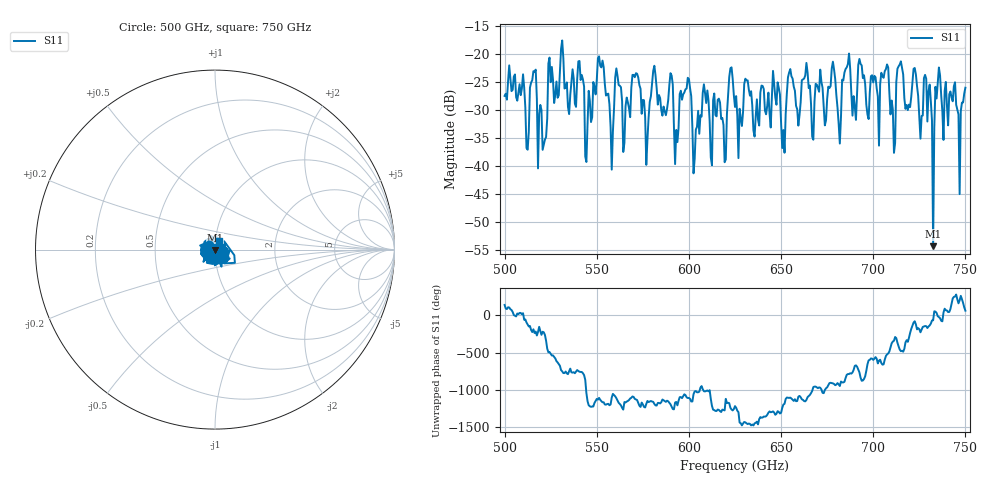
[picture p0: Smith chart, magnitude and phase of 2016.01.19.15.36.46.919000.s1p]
!Created with skrf (http://scikit-rf.org).
# GHz S RI R 50.0
!freq ReS11 ImS11
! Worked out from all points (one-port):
!   401 points, 500 GHz to 750 GHz, reference 50 ohm
!   lowest |S11| = -54.2 dB at 732.5 GHz (marker M1), VSWR 1.00, Z = 50.1 - j0.177 ohm
!   |S11| at or under -10 dB: start of sweep to end of sweep
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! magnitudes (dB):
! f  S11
! 500 GHz  -27.4
! 512.5 GHz  -37.0
! 515.6 GHz  -23.0
! 521.9 GHz  -35.2
! 525 GHz  -25.0
! 531.2 GHz  -17.5
! 545 GHz  -32.5
! 551.9 GHz  -22.0
! 558.1 GHz  -40.6
! 562.5 GHz  -25.6
! 577.5 GHz  -35.2
! 580.6 GHz  -23.0
! 590 GHz  -23.4
! 593.8 GHz  -35.7
! 599.4 GHz  -24.2
! 603.1 GHz  -38.6
! 608.8 GHz  -26.9
! 618.8 GHz  -32.6
! 625 GHz  -29.4
! 646.9 GHz  -27.7
! 651.2 GHz  -33.5
! 656.2 GHz  -24.3
! 687.5 GHz  -22.6
! 718.8 GHz  -30.0
! 729.4 GHz  -32.0
! 732.5 GHz  -54.2
! 735 GHz  -25.2
! 750 GHz  -26.0
